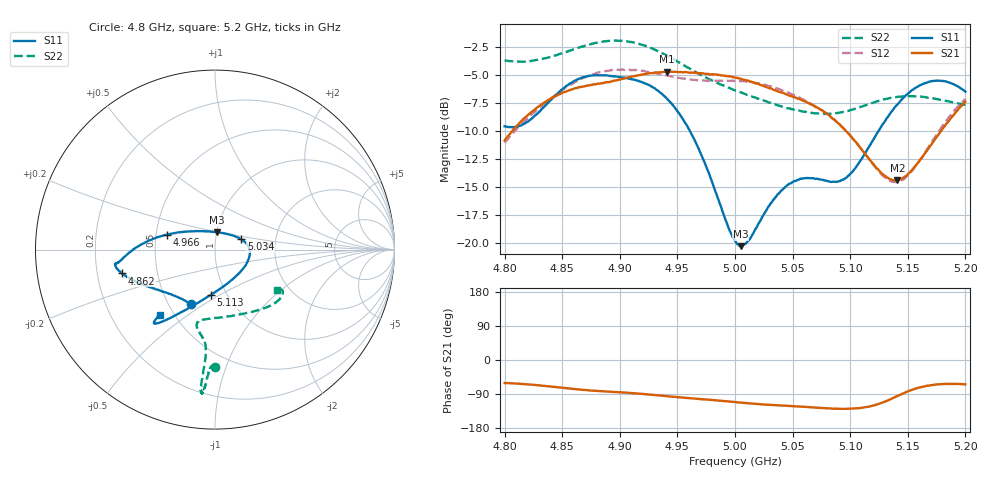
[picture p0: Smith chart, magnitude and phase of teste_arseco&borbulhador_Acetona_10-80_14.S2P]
! Network Analyzer HP8722D
! Hewlett-Packard
! Data name: Linha & Wilkinson
! Saver's name: Rodrigo Anjos
! Comments: Teste da utilização de aquisição
! continua pelo VNA HP8722D
! Time and date: 17/4/2025 14:28
!  Frequency  S11  S21  S12  S22
# HZ  S  MA R 50
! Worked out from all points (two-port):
!   401 points, 4.8 GHz to 5.2 GHz, reference 50 ohm
!   highest |S21| = -4.67 dB at 4.941 GHz (marker M1); lowest = -14.4 dB at 5.141 GHz (marker M2)
!   |S21| within 3 dB of the highest: 4.831 GHz to 5.068 GHz (236.8 MHz wide, 4.78 % of centre); 5.197057 GHz to end of sweep
!   lowest |S11| = -20.3 dB at 5.005 GHz (marker M3), VSWR 1.21, Z = 50 + j9.74 ohm
!   |S11| at or under -10 dB: 4.961 GHz to 5.124 GHz (163.4 MHz wide, 3.24 % of centre)
!   |S22| runs from -8.5 to -1.9 dB; largest |S21 - S12| = 0.88
!   S11 on the Smith chart (normalised r, x): 4.8 GHz: 0.65, -0.44; 4.862 GHz: 0.31, -0.11; 4.966 GHz: 0.57, +0.10; 5.034 GHz: 1.33, +0.16; 5.113 GHz: 0.84, -0.45; 5.2 GHz: 0.42, -0.39
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4.8e9  0.3329 -113.3  0.2873 -60.8  0.2812 -175.1  0.6551 -90.0
4.819e9  0.3468 -133.2  0.3683 -64.0  0.3569 -173.5  0.6502 -91.7
4.862e9  0.5354 -165.6  0.4936 -77.0  0.5273 -176.7  0.7425 -93.8
4.867e9  0.5489 -167.6  0.5001 -78.6  0.5432 -177.8  0.7572 -94.0
4.902e9  0.5498 -172.2  0.5417 -85.5  0.5979 175.1  0.8012 -95.4
4.934e9  0.4767 -178.1  0.5793 -93.6  0.5717 171.9  0.7166 -95.7
4.941e9  0.4422 178.7  0.5839 -95.3  0.5612 171.8  0.6886 -95.5
4.966e9  0.281 162.8  0.5761 -102.0  0.5356 173.8  0.5808 -95.0
5e9  0.1026 102.0  0.5503 -111.1  0.5318 176.1  0.4818 -99.2
5.005e9  0.09696 84.7  0.5434 -112.4  0.5288 176.1  0.4713 -100.3
5.013e9  0.1047 58.8  0.5274 -114.5  0.5244 175.9  0.4559 -102.0
5.034e9  0.1575 21.2  0.4838 -119.1  0.4963 174.8  0.4171 -103.7
5.049e9  0.1859 5.8  0.4536 -121.6  0.4633 174.1  0.3969 -100.1
5.067e9  0.1951 -13.3  0.4146 -125.1  0.4163 173.6  0.382 -91.0
5.093e9  0.1918 -57.6  0.3305 -128.9  0.3295 174.1  0.3847 -70.8
5.113e9  0.2528 -95.0  0.2504 -124.8  0.2501 179.8  0.413 -55.1
5.134e9  0.3754 -116.2  0.1938 -104.9  0.1903 -157.7  0.4448 -43.0
5.141e9  0.4167 -120.2  0.1911 -95.0  0.188 -146.8  0.4505 -39.9
5.152e9  0.4748 -124.7  0.2082 -80.6  0.2053 -129.9  0.4541 -36.0
5.17e9  0.5285 -128.7  0.2738 -66.4  0.2793 -112.7  0.4454 -32.0
5.184e9  0.5263 -130.0  0.345 -63.1  0.3557 -107.3  0.4318 -31.0
5.2e9  0.4753 -130.5  0.4289 -64.4  0.441 -106.5  0.4147 -33.3
